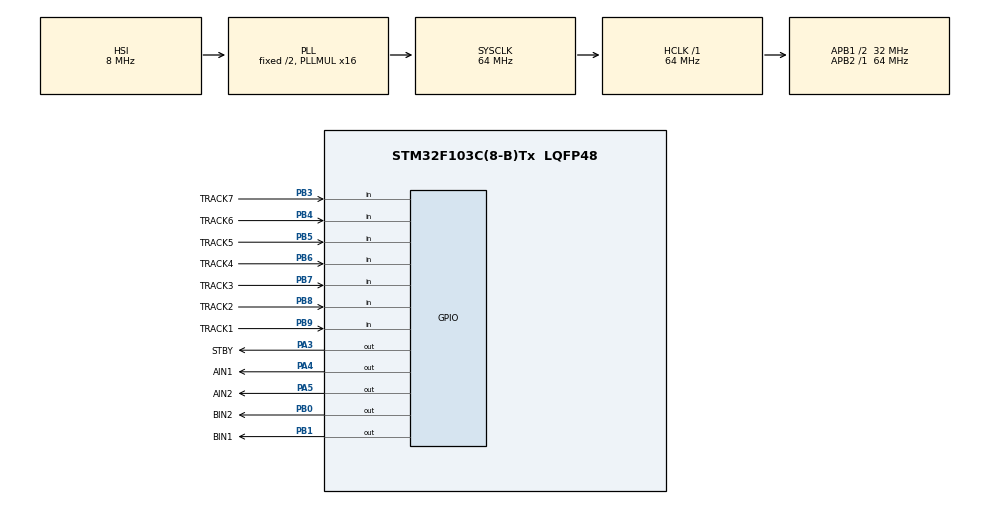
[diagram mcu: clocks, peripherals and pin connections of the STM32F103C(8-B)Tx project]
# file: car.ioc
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Mcu.Family=STM32F1
Mcu.Name=STM32F103C(8-B)Tx
Mcu.Package=LQFP48
NVIC.PriorityGroup=NVIC_PRIORITYGROUP_4
NVIC.TIM4_IRQn=true\:1\:0\:true\:false\:true\:true\:true\:true
PA0-WKUP.GPIO_Label=E2A
PA0-WKUP.Signal=S_TIM2_CH1_ETR
PA1.GPIO_Label=E2B
PA1.Signal=S_TIM2_CH2
PA3.GPIO_Label=STBY
PA3.Signal=GPIO_Output
PA4.GPIO_Label=AIN1
PA4.Signal=GPIO_Output
PA5.GPIO_Label=AIN2
PA5.Signal=GPIO_Output
PA6.GPIO_Label=PWMA
PA6.Signal=S_TIM3_CH1
PA7.GPIO_Label=PWMB
PA7.Signal=S_TIM3_CH2
PA8.GPIO_Label=E1A
PA8.Signal=S_TIM1_CH1
PA9.GPIO_Label=E1B
PA9.Signal=S_TIM1_CH2
PA13.Mode=Serial_Wire
PA13.Signal=SYS_JTMS-SWDIO
PA14.Mode=Serial_Wire
PA14.Signal=SYS_JTCK-SWCLK
PB0.GPIO_Label=BIN2
PB0.Signal=GPIO_Output
PB1.GPIO_Label=BIN1
PB1.Signal=GPIO_Output
PB3.GPIO_Label=TRACK7
PB3.GPIO_PuPd=GPIO_PULLUP
PB3.Signal=GPIO_Input
PB4.GPIO_Label=TRACK6
PB4.GPIO_PuPd=GPIO_PULLUP
PB4.Signal=GPIO_Input
PB5.GPIO_Label=TRACK5
PB5.GPIO_PuPd=GPIO_PULLUP
PB5.Signal=GPIO_Input
PB6.GPIO_Label=TRACK4
PB6.GPIO_PuPd=GPIO_PULLUP
PB6.Signal=GPIO_Input
PB7.GPIO_Label=TRACK3
PB7.GPIO_PuPd=GPIO_PULLUP
PB7.Signal=GPIO_Input
PB8.GPIO_Label=TRACK2
PB8.GPIO_PuPd=GPIO_PULLUP
PB8.Signal=GPIO_Input
PB9.GPIO_Label=TRACK1
PB9.GPIO_PuPd=GPIO_PULLUP
PB9.Signal=GPIO_Input
ProjectManager.HeapSize=0x200
ProjectManager.StackSize=0x400
ProjectManager.TargetToolchain=Makefile
RCC.AHBFreq_Value=64000000
RCC.APB1CLKDivider=RCC_HCLK_DIV2
RCC.APB1Freq_Value=32000000
RCC.APB1TimFreq_Value=64000000
RCC.APB2Freq_Value=64000000
RCC.APB2TimFreq_Value=64000000
RCC.HCLKFreq_Value=64000000
RCC.PLLMUL=RCC_PLL_MUL16
RCC.SYSCLKFreq_VALUE=64000000
RCC.SYSCLKSource=RCC_SYSCLKSOURCE_PLLCLK
RCC.USBFreq_Value=64000000
TIM1.Channel-Encoder_Mode=TIM_CHANNEL_ALL
TIM1.EncoderMode=TIM_ENCODERMODE_TI12
TIM1.IC1Filter=4
TIM1.IC1Polarity=TIM_ICPOLARITY_RISING
TIM1.IC1Selection=TIM_ICSELECTION_DIRECTTI
TIM1.IC2Filter=4
TIM1.IC2Polarity=TIM_ICPOLARITY_RISING
TIM1.IC2Selection=TIM_ICSELECTION_DIRECTTI
TIM1.Period=65535
TIM2.Channel-Encoder_Mode=TIM_CHANNEL_ALL
TIM2.EncoderMode=TIM_ENCODERMODE_TI12
TIM2.IC1Filter=4
TIM2.IC1Polarity=TIM_ICPOLARITY_RISING
TIM2.IC1Selection=TIM_ICSELECTION_DIRECTTI
TIM2.IC2Filter=4
TIM2.IC2Polarity=TIM_ICPOLARITY_RISING
TIM2.IC2Selection=TIM_ICSELECTION_DIRECTTI
TIM2.Period=65535
TIM3.Channel-PWM Generation1 CH1=TIM_CHANNEL_1
TIM3.Channel-PWM Generation2 CH2=TIM_CHANNEL_2
TIM3.Period=3199
TIM3.Prescaler=0
TIM4.Period=99
TIM4.Prescaler=6399
VP_TIM4_VS_ClockSourceINT.Mode=Internal
board=custom

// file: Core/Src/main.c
/* USER CODE BEGIN Header */
/**
  ******************************************************************************
  * @file           : main.c
  * @brief          : Main program body
  ******************************************************************************
  * @attention
  *
  * Copyright (c) 2026 STMicroelectronics.
  * All rights reserved.
  *
  * This software is licensed under terms that can be found in the LICENSE file
  * in the root directory of this software component.
  * If no LICENSE file comes with this software, it is provided AS-IS.
  *
  ******************************************************************************
  */
/* USER CODE END Header */
#include "main.h"

/* USER CODE BEGIN Includes */
#include "car_control.h"
#include "line_tracker.h"

/* USER CODE END Includes */

TIM_HandleTypeDef htim1;
TIM_HandleTypeDef htim2;
TIM_HandleTypeDef htim3;
TIM_HandleTypeDef htim4;

void SystemClock_Config(void);
static void MX_GPIO_Init(void);
static void MX_TIM1_Init(void);
static void MX_TIM2_Init(void);
static void MX_TIM3_Init(void);
static void MX_TIM4_Init(void);
void HAL_TIM_MspPostInit(TIM_HandleTypeDef *htim);

int main(void)

    {

  /* MCU Configuration--------------------------------------------------------*/

  /* Reset of all peripherals, Initializes the Flash interface and the Systick. */
  HAL_Init();

  /* Configure the system clock */
  SystemClock_Config();

  /* Initialize all configured peripherals */
  MX_GPIO_Init();
  MX_TIM1_Init();
  MX_TIM2_Init();
  MX_TIM3_Init();
  MX_TIM4_Init();
  /* USER CODE BEGIN 2 */
  LineTracker_Init();
  Car_Init();
  g_car.left.pid.kp = 180;
  g_car.left.pid.ki = 0.35f;
  g_car.left.pid.kd = 26;

  g_car.right.pid.kp = 180;
  g_car.right.pid.ki = 0.28f;
  g_car.right.pid.kd = 18;

  g_car.left.invert_motor = 1;
  g_car.left.invert_encoder = 0;
  g_car.right.invert_motor = 1;
  g_car.right.invert_encoder = 1;

  g_car.left.target_counts = 26;
  g_car.right.target_counts = 26;
  g_car.mode = 3;
  /* USER CODE END 2 */

  /* Infinite loop */
  while (1)
  {

  }
}

static void MX_TIM1_Init(void)
{

  TIM_Encoder_InitTypeDef sConfig = {0};
  TIM_MasterConfigTypeDef sMasterConfig = {0};

  htim1.Instance = TIM1;
  htim1.Init.Prescaler = 0;
  htim1.Init.CounterMode = TIM_COUNTERMODE_UP;
  htim1.Init.Period = 65535;
  htim1.Init.ClockDivision = TIM_CLOCKDIVISION_DIV1;
  htim1.Init.RepetitionCounter = 0;
  htim1.Init.AutoReloadPreload = TIM_AUTORELOAD_PRELOAD_DISABLE;
  sConfig.EncoderMode = TIM_ENCODERMODE_TI12;
  sConfig.IC1Polarity = TIM_ICPOLARITY_RISING;
  sConfig.IC1Selection = TIM_ICSELECTION_DIRECTTI;
  sConfig.IC1Prescaler = TIM_ICPSC_DIV1;
  sConfig.IC1Filter = 4;
  sConfig.IC2Polarity = TIM_ICPOLARITY_RISING;
  sConfig.IC2Selection = TIM_ICSELECTION_DIRECTTI;
  sConfig.IC2Prescaler = TIM_ICPSC_DIV1;
  sConfig.IC2Filter = 4;
  if (HAL_TIM_Encoder_Init(&htim1, &sConfig) != HAL_OK)
  {
    Error_Handler();
  }
  sMasterConfig.MasterOutputTrigger = TIM_TRGO_RESET;
  sMasterConfig.MasterSlaveMode = TIM_MASTERSLAVEMODE_DISABLE;
  if (HAL_TIMEx_MasterConfigSynchronization(&htim1, &sMasterConfig) != HAL_OK)
  {
    Error_Handler();
  }

}

static void MX_TIM2_Init(void)
{

  TIM_Encoder_InitTypeDef sConfig = {0};
  TIM_MasterConfigTypeDef sMasterConfig = {0};

  htim2.Instance = TIM2;
  htim2.Init.Prescaler = 0;
  htim2.Init.CounterMode = TIM_COUNTERMODE_UP;
  htim2.Init.Period = 65535;
  htim2.Init.ClockDivision = TIM_CLOCKDIVISION_DIV1;
  htim2.Init.AutoReloadPreload = TIM_AUTORELOAD_PRELOAD_DISABLE;
  sConfig.EncoderMode = TIM_ENCODERMODE_TI12;
  sConfig.IC1Polarity = TIM_ICPOLARITY_RISING;
  sConfig.IC1Selection = TIM_ICSELECTION_DIRECTTI;
  sConfig.IC1Prescaler = TIM_ICPSC_DIV1;
  sConfig.IC1Filter = 4;
  sConfig.IC2Polarity = TIM_ICPOLARITY_RISING;
  sConfig.IC2Selection = TIM_ICSELECTION_DIRECTTI;
  sConfig.IC2Prescaler = TIM_ICPSC_DIV1;
  sConfig.IC2Filter = 4;
  if (HAL_TIM_Encoder_Init(&htim2, &sConfig) != HAL_OK)
  {
    Error_Handler();
  }
  sMasterConfig.MasterOutputTrigger = TIM_TRGO_RESET;
  sMasterConfig.MasterSlaveMode = TIM_MASTERSLAVEMODE_DISABLE;
  if (HAL_TIMEx_MasterConfigSynchronization(&htim2, &sMasterConfig) != HAL_OK)
  {
    Error_Handler();
  }

}

static void MX_TIM3_Init(void)
{

  TIM_MasterConfigTypeDef sMasterConfig = {0};
  TIM_OC_InitTypeDef sConfigOC = {0};

  htim3.Instance = TIM3;
  htim3.Init.Prescaler = 0;
  htim3.Init.CounterMode = TIM_COUNTERMODE_UP;
  htim3.Init.Period = CAR_PWM_MAX;
  htim3.Init.ClockDivision = TIM_CLOCKDIVISION_DIV1;
  htim3.Init.AutoReloadPreload = TIM_AUTORELOAD_PRELOAD_DISABLE;
  if (HAL_TIM_PWM_Init(&htim3) != HAL_OK)
  {
    Error_Handler();
  }
  sMasterConfig.MasterOutputTrigger = TIM_TRGO_RESET;
  sMasterConfig.MasterSlaveMode = TIM_MASTERSLAVEMODE_DISABLE;
  if (HAL_TIMEx_MasterConfigSynchronization(&htim3, &sMasterConfig) != HAL_OK)
  {
    Error_Handler();
  }
  sConfigOC.OCMode = TIM_OCMODE_PWM1;
  sConfigOC.Pulse = 0;
  sConfigOC.OCPolarity = TIM_OCPOLARITY_HIGH;
  sConfigOC.OCFastMode = TIM_OCFAST_DISABLE;
  if (HAL_TIM_PWM_ConfigChannel(&htim3, &sConfigOC, TIM_CHANNEL_1) != HAL_OK)
  {
    Error_Handler();
  }
  if (HAL_TIM_PWM_ConfigChannel(&htim3, &sConfigOC, TIM_CHANNEL_2) != HAL_OK)
  {
    Error_Handler();
  }
  HAL_TIM_MspPostInit(&htim3);

}

static void MX_TIM4_Init(void)
{

  TIM_ClockConfigTypeDef sClockSourceConfig = {0};
  TIM_MasterConfigTypeDef sMasterConfig = {0};

  htim4.Instance = TIM4;
  htim4.Init.Prescaler = 6399;
  htim4.Init.CounterMode = TIM_COUNTERMODE_UP;
  htim4.Init.Period = 99;
  htim4.Init.ClockDivision = TIM_CLOCKDIVISION_DIV1;
  htim4.Init.AutoReloadPreload = TIM_AUTORELOAD_PRELOAD_DISABLE;
  if (HAL_TIM_Base_Init(&htim4) != HAL_OK)
  {
    Error_Handler();
  }
  sClockSourceConfig.ClockSource = TIM_CLOCKSOURCE_INTERNAL;
  if (HAL_TIM_ConfigClockSource(&htim4, &sClockSourceConfig) != HAL_OK)
  {
    Error_Handler();
  }
  sMasterConfig.MasterOutputTrigger = TIM_TRGO_RESET;
  sMasterConfig.MasterSlaveMode = TIM_MASTERSLAVEMODE_DISABLE;
  if (HAL_TIMEx_MasterConfigSynchronization(&htim4, &sMasterConfig) != HAL_OK)
  {
    Error_Handler();
  }

}

void SystemClock_Config(void)
{
  RCC_OscInitTypeDef RCC_OscInitStruct = {0};
  RCC_ClkInitTypeDef RCC_ClkInitStruct = {0};

  /** Initializes the RCC Oscillators according to the specified parameters
  * in the RCC_OscInitTypeDef structure.
  */
  RCC_OscInitStruct.OscillatorType = RCC_OSCILLATORTYPE_HSI;
  RCC_OscInitStruct.HSIState = RCC_HSI_ON;
  RCC_OscInitStruct.HSICalibrationValue = RCC_HSICALIBRATION_DEFAULT;
  RCC_OscInitStruct.PLL.PLLState = RCC_PLL_ON;
  RCC_OscInitStruct.PLL.PLLSource = RCC_PLLSOURCE_HSI_DIV2;
  RCC_OscInitStruct.PLL.PLLMUL = RCC_PLL_MUL16;
  if (HAL_RCC_OscConfig(&RCC_OscInitStruct) != HAL_OK)
  {
    Error_Handler();
  }

  /** Initializes the CPU, AHB and APB buses clocks
  */
  RCC_ClkInitStruct.ClockType = RCC_CLOCKTYPE_HCLK|RCC_CLOCKTYPE_SYSCLK
                              |RCC_CLOCKTYPE_PCLK1|RCC_CLOCKTYPE_PCLK2;
  RCC_ClkInitStruct.SYSCLKSource = RCC_SYSCLKSOURCE_PLLCLK;
  RCC_ClkInitStruct.AHBCLKDivider = RCC_SYSCLK_DIV1;
  RCC_ClkInitStruct.APB1CLKDivider = RCC_HCLK_DIV2;
  RCC_ClkInitStruct.APB2CLKDivider = RCC_HCLK_DIV1;

  if (HAL_RCC_ClockConfig(&RCC_ClkInitStruct, FLASH_LATENCY_2) != HAL_OK)
  {
    Error_Handler();
  }
}

static void MX_GPIO_Init(void)
{
  GPIO_InitTypeDef GPIO_InitStruct = {0};

  /* GPIO Ports Clock Enable */
  __HAL_RCC_GPIOA_CLK_ENABLE();
  __HAL_RCC_GPIOB_CLK_ENABLE();

  /*Configure GPIO pin Output Level */
  HAL_GPIO_WritePin(GPIOA, STBY_Pin|AIN1_Pin|AIN2_Pin, GPIO_PIN_RESET);

  /*Configure GPIO pin Output Level */
  HAL_GPIO_WritePin(GPIOB, BIN2_Pin|BIN1_Pin, GPIO_PIN_RESET);

  /*Configure GPIO pins : STBY_Pin AIN1_Pin AIN2_Pin */
  GPIO_InitStruct.Pin = STBY_Pin|AIN1_Pin|AIN2_Pin;
  GPIO_InitStruct.Mode = GPIO_MODE_OUTPUT_PP;
  GPIO_InitStruct.Pull = GPIO_NOPULL;
  GPIO_InitStruct.Speed = GPIO_SPEED_FREQ_LOW;
  HAL_GPIO_Init(GPIOA, &GPIO_InitStruct);

  /*Configure GPIO pins : BIN2_Pin BIN1_Pin */
  GPIO_InitStruct.Pin = BIN2_Pin|BIN1_Pin;
  GPIO_InitStruct.Mode = GPIO_MODE_OUTPUT_PP;
  GPIO_InitStruct.Pull = GPIO_NOPULL;
  GPIO_InitStruct.Speed = GPIO_SPEED_FREQ_LOW;
  HAL_GPIO_Init(GPIOB, &GPIO_InitStruct);

  /*Configure GPIO pins : TRACK1_Pin TRACK2_Pin TRACK3_Pin TRACK4_Pin
                           TRACK5_Pin TRACK6_Pin TRACK7_Pin */
  GPIO_InitStruct.Pin = TRACK1_Pin|TRACK2_Pin|TRACK3_Pin|TRACK4_Pin
                          |TRACK5_Pin|TRACK6_Pin|TRACK7_Pin;
  GPIO_InitStruct.Mode = GPIO_MODE_INPUT;
  GPIO_InitStruct.Pull = GPIO_PULLUP;
  HAL_GPIO_Init(GPIOB, &GPIO_InitStruct);

}

/* USER CODE BEGIN 4 */
void HAL_TIM_PeriodElapsedCallback(TIM_HandleTypeDef *htim)
{
  if (htim->Instance == TIM4)
  {
    Car_ControlStep();
  }
}

/* USER CODE END 4 */

void Error_Handler(void)
{
  __disable_irq();
  while (1)
  {
  }
}
